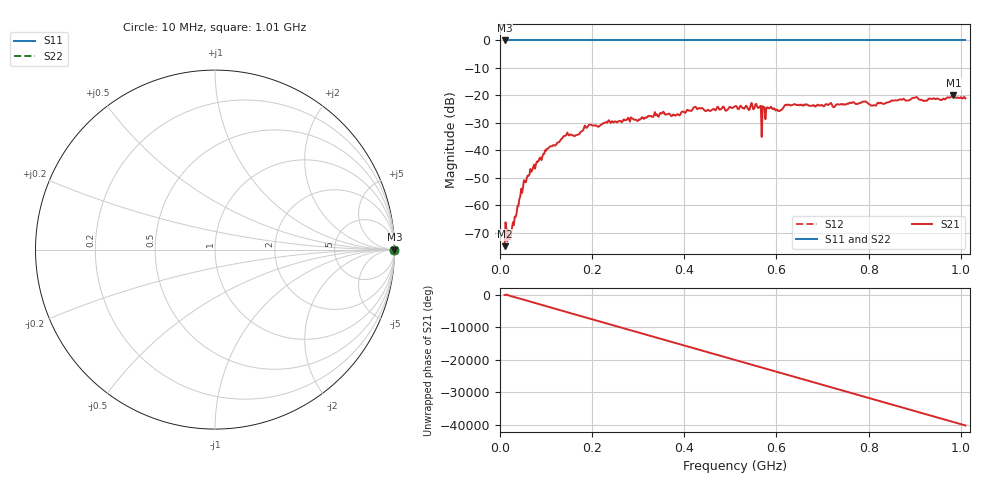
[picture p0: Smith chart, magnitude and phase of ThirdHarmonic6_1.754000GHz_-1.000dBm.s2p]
! 8/16/2025 9:10:02 PM
! C:\ANRITSUVNA\TEMP\TEMP.S2P
! CHANNEL.1
! TR.MEASUREMENT
! RAW.DATA
! RF.CORRECTION.OFF
! AVERAGING.OFF
! IF.BANDWIDTH: 5KHZ
! SWEEPTYPE:  FREQ.SWEEP(Linear)
! Reference Plane Port Info
! PORT:  PORT1  PORT2
! DISTANCE:  0  m  0  m
! TIME:  0  s  0  s
! PHASE.OFFSET:  0  deg.  0  deg.
! LOSS:  0  dB  0  dB
! REF.LOSS:  0  dB  0  dB
! REF.FREQ:  0  Hz  0  Hz
! Power Info
! POWER:  -20  dBm  -20  dBm
! EFF.POWER:  -20  dBm  -20  dBm
! SOURCE.ATTEN:  0  dB  0  dB
! TEST.ATTEN:  0  dB  0  dB
# GHZ S RI R 50.0
! FREQ.GHZ  S11RE  S11IM  S21RE  S21IM  S12RE  S12IM  S22RE  S22IM
!; PortSelection: Port_12
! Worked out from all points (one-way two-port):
!   501 points, 10 MHz to 1.01 GHz, reference 50 ohm
!   highest |S21| = -19.92 dB at 984 MHz (marker M1); lowest = -74.9 dB at 10 MHz (marker M2)
!   lowest |S11| = 0.0 dB at 10 MHz (marker M3)
!   |S11| at or under -10 dB: nowhere
!   |S22| runs from 0.0 to 0.0 dB; largest |S21 - S12| = 1.1
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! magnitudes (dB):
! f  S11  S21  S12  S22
! 10 MHz  0.0  -74.9  0.0  0.0
! 16 MHz  0.0  -73.1  0.0  0.0
! 20 MHz  0.0  -71.9  0.0  0.0
! 24 MHz  0.0  -70.9  0.0  0.0
! 50 MHz  0.0  -53.3  0.0  0.0
! 70 MHz  0.0  -47.2  0.0  0.0
! 106 MHz  0.0  -39.1  0.0  0.0
! 142 MHz  0.0  -34.7  0.0  0.0
! 178 MHz  0.0  -33.0  0.0  0.0
! 196 MHz  0.0  -30.7  0.0  0.0
! 344 MHz  0.0  -27.8  0.0  0.0
! 510 MHz  0.0  -24.0  0.0  0.0
! 558 MHz  0.0  -24.1  0.0  0.0
! 572 MHz  0.0  -24.2  0.0  0.0
! 574 MHz  0.0  -24.3  0.0  0.0
! 584 MHz  0.0  -24.8  0.0  0.0
! 608 MHz  0.0  -25.6  0.0  0.0
! 622 MHz  0.0  -23.6  0.0  0.0
! 678 MHz  0.0  -23.8  0.0  0.0
! 844 MHz  0.0  -22.4  0.0  0.0
! 984 MHz  0.0  -19.9  0.0  0.0
! 1.01 GHz  0.0  -21.1  0.0  0.0
